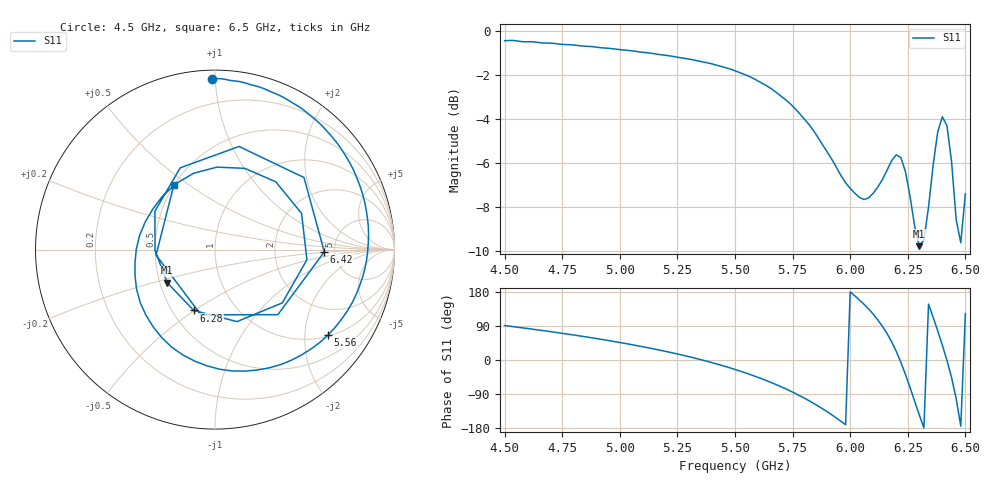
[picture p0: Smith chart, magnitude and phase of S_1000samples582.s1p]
! TOUCHSTONE file generated by CST MICROWAVE STUDIO
! Date and time: Fri Oct 28 16:28:34 2022
! Project name: L.cst
! Parameters = {Di=1.27; Epsilon_r=1.56; InnerDiameter=1.27; Length=2; Lf=10; Lg=60; OuterConductorThickness=0.2921; OuterDiameter=3.6; Wf=3; Wp=41.2; de=1.5; df=6.8; g=0.8; gx=4.89896; gy=2.73178; h=2.34; hf=1.524; px=11.8536; py=13.8891; w=9.7; wx=6.95461; wy=11.1574}
! Header version: 2018
! Port assignment regex: !\s*Touchstone port\s*([0-9]+)\s*=\s*(CST MWS port|CST DS port)\s*([0-9]+|Zmin|Zmax)\s*\(\"(.*)\"\)(\s*mode\s*([0-9]+))?.*
! Touchstone port assignment:
! Touchstone port 1 = CST MWS port 1 ("")
# GHz S DB R 50
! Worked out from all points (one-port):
!   101 points, 4.5 GHz to 6.5 GHz, reference 50 ohm
!   lowest |S11| = -9.8 dB at 6.3 GHz (marker M1), VSWR 1.96, Z = 27.4 - j11.3 ohm
!   |S11| at or under -10 dB: nowhere
!   S11 on the Smith chart (normalised r, x): 4.5 GHz: 0.05, +0.98; 5.56 GHz: 1.04, -2.62; 6.28 GHz: 0.64, -0.50; 6.42 GHz: 4.11, -0.16; 6.5 GHz: 0.50, +0.44
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4.5  -0.43 90.9
4.76  -0.61 69.6
5  -0.84 46.2
5.26  -1.20 14.5
5.5  -1.80 -24.9
5.56  -2.05 -37.1
5.66  -2.64 -60.2
5.76  -3.52 -87.8
5.9  -5.50 -136.4
6  -7.16 179.6
6.1  -7.38 121.1
6.16  -6.33 69.8
6.18  -5.90 48.1
6.2  -5.63 22.7
6.22  -5.76 -6.2
6.24  -6.41 -38.4
6.26  -7.55 -73.0
6.28  -8.89 -109.2
6.3  -9.80 -145.2
6.34  -8.02 147.4
6.36  -6.10 113.0
6.38  -4.58 76.9
6.4  -3.90 39.0
6.42  -4.31 -1.2
6.44  -5.95 -46.0
6.46  -8.59 -102.1
6.48  -9.64 -174.7
6.5  -7.41 122.6
